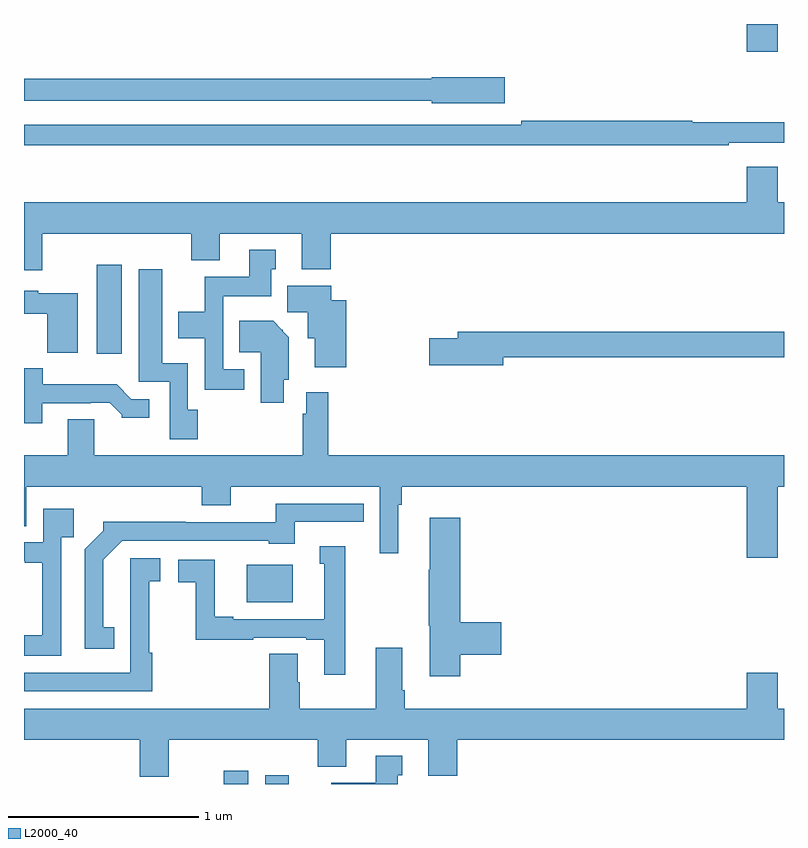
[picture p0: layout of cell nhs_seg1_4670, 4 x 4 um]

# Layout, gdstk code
import gdstk
lib = gdstk.Library(unit=1e-6, precision=1e-09)
def R(c, l, rs):  # rectangles x0, y0, x1, y1
    for r in rs: c.add(gdstk.rectangle(r[:2], r[2:], *l))
def P(c, l, *ps):  # polygons
    for p in ps: c.add(gdstk.Polygon(p, *l))
L2000_40 = (2000, 40)

nhs_seg1_4670 = lib.new_cell('nhs_seg1_4670')
R(nhs_seg1_4670, L2000_40, [(366.05,518.199,366.181,518.269), (366.269,518.199,366.394,518.245), (366.173,519.155,366.415,519.352), (365.384,520.464,365.515,520.933), (368.804,522.054,368.968,522.199)])
P(nhs_seg1_4670, L2000_40, [(367.531,521.918),(367.146,521.918),(367.146,521.912),(365,521.912),(365,521.796),(367.146,521.796),(367.146,521.783),(367.531,521.783)],
  [(368.708,521.574),(369,521.574),(369,521.683),(368.518,521.683),(368.518,521.69),(367.618,521.69),(367.618,521.67),(365,521.67),(365,521.562),(368.708,521.562)],
  [(365.095,521.096),(365.879,521.096),(365.879,520.955),(366.031,520.955),(366.031,521.096),(366.461,521.096),(366.461,520.907),(366.614,520.907),(366.614,521.096),(369,521.096),(369,521.26),(368.968,521.26),(368.968,521.449),(368.804,521.449),(368.804,521.26),(365,521.26),(365,520.902),(365.095,520.902)],
  [(366.16,520.383),(366.048,520.383),(366.048,520.766),(366.301,520.766),(366.301,520.908),(366.325,520.908),(366.325,521.011),(366.185,521.011),(366.185,520.87),(365.95,520.87),(365.95,520.684),(365.813,520.684),(365.813,520.544),(365.952,520.544),(365.952,520.275),(366.16,520.275)],
  [(365.915,520.17),(365.862,520.17),(365.862,520.414),(365.728,520.414),(365.728,520.909),(365.603,520.909),(365.603,520.317),(365.766,520.317),(365.766,520.014),(365.915,520.014)],
  [(366.696,520.744),(366.616,520.744),(366.616,520.822),(366.386,520.822),(366.386,520.683),(366.494,520.683),(366.494,520.544),(366.53,520.544),(366.53,520.392),(366.696,520.392)],
  [(365.284,520.783),(365.076,520.783),(365.076,520.795),(365,520.795),(365,520.673),(365.122,520.673),(365.122,520.469),(365.284,520.469)],
  [(366.367,520.326),(366.394,520.326),(366.394,520.551),(366.363,520.582),(366.363,520.59),(366.357,520.59),(366.311,520.636),(366.133,520.636),(366.133,520.472),(366.245,520.472),(366.245,520.206),(366.367,520.206)],
  [(367.522,520.444),(369,520.444),(369,520.58),(367.283,520.58),(367.283,520.544),(367.134,520.544),(367.134,520.402),(367.522,520.402)],
  [(365.095,520.203),(365.351,520.203),(365.351,520.206),(365.45,520.206),(365.514,520.142),(365.514,520.127),(365.659,520.127),(365.659,520.224),(365.565,520.224),(365.487,520.303),(365.098,520.303),(365.098,520.387),(365,520.387),(365,520.097),(365.095,520.097)],
  [(368.968,519.764),(369,519.764),(369,519.928),(366.602,519.928),(366.602,520.261),(366.486,520.261),(366.486,520.148),(366.466,520.148),(366.466,519.928),(365.371,519.928),(365.371,520.118),(365.231,520.118),(365.231,519.928),(365,519.928),(365,519.556),(365.011,519.556),(365.011,519.764),(365.936,519.764),(365.936,519.665),(366.088,519.665),(366.088,519.764),(366.873,519.764),(366.873,519.414),(366.97,519.414),(366.97,519.668),(366.989,519.668),(366.989,519.764),(368.804,519.764),(368.804,519.39),(368.968,519.39)],
  [(365.474,519.023),(365.416,519.023),(365.416,519.379),(365.517,519.48),(366.288,519.48),(366.288,519.464),(366.424,519.464),(366.424,519.579),(366.788,519.579),(366.788,519.675),(366.325,519.675),(366.325,519.576),(365.852,519.576),(365.852,519.578),(365.418,519.578),(365.418,519.533),(365.319,519.434),(365.319,518.91),(365.474,518.91)],
  [(365.196,519.497),(365.261,519.497),(365.261,519.649),(365.1,519.649),(365.1,519.471),(365,519.471),(365,519.375),(365.003,519.375),(365.003,519.363),(365.095,519.363),(365.095,518.983),(365,518.983),(365,518.874),(365.196,518.874)],
  [(367.295,518.879),(367.513,518.879),(367.513,519.05),(367.295,519.05),(367.295,519.601),(367.136,519.601),(367.136,519.326),(367.129,519.326),(367.129,519.033),(367.136,519.033),(367.136,518.766),(367.295,518.766)],
  [(366.691,519.451),(366.557,519.451),(366.557,519.357),(366.581,519.357),(366.581,519.066),(366.1,519.066),(366.1,519.079),(366.004,519.079),(366.004,519.378),(365.811,519.378),(365.811,519.262),(365.905,519.262),(365.905,518.958),(366.206,518.958),(366.206,518.97),(366.485,518.97),(366.485,518.958),(366.581,518.958),(366.581,518.775),(366.691,518.775)],
  [(365.675,518.891),(365.658,518.891),(365.658,519.267),(365.716,519.267),(365.716,519.388),(365.558,519.388),(365.558,519.112),(365.559,519.112),(365.559,518.784),(365,518.784),(365,518.688),(365.675,518.688)],
  [(367.004,518.692),(366.991,518.692),(366.991,518.917),(366.851,518.917),(366.851,518.596),(366.45,518.596),(366.45,518.735),(366.442,518.735),(366.442,518.885),(366.29,518.885),(366.29,518.596),(365,518.596),(365,518.432),(365.609,518.432),(365.609,518.238),(365.761,518.238),(365.761,518.432),(366.545,518.432),(366.545,518.291),(366.697,518.291),(366.697,518.432),(367.127,518.432),(367.127,518.243),(367.28,518.243),(367.28,518.432),(369,518.432),(369,518.596),(368.968,518.596),(368.968,518.785),(368.804,518.785),(368.804,518.596),(367.004,518.596)],
  [(366.967,518.244),(366.991,518.244),(366.991,518.347),(366.851,518.347),(366.851,518.206),(366.616,518.206),(366.616,518.199),(366.967,518.199)])

lib.write_gds('nhs_seg1_4670.gds')
